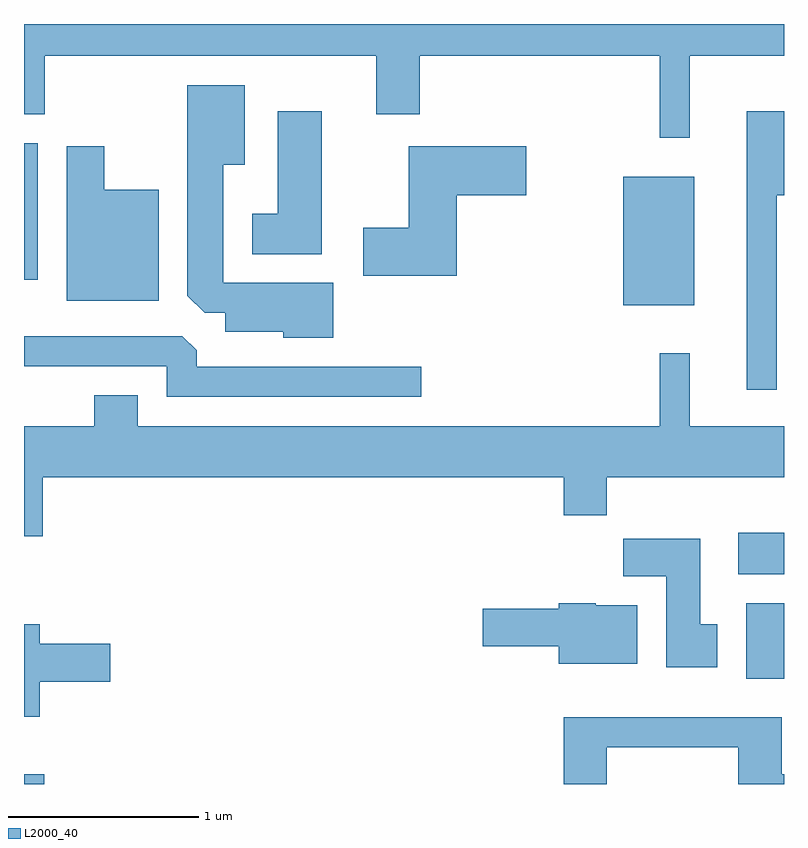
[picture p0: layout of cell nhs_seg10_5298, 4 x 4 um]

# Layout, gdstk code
import gdstk
lib = gdstk.Library(unit=1e-6, precision=1e-09)
def R(c, l, rs):  # rectangles x0, y0, x1, y1
    for r in rs: c.add(gdstk.rectangle(r[:2], r[2:], *l))
def P(c, l, *ps):  # polygons
    for p in ps: c.add(gdstk.Polygon(p, *l))
L2000_40 = (2000, 40)

nhs_seg10_5298 = lib.new_cell('nhs_seg10_5298')
R(nhs_seg10_5298, L2000_40, [(341.611,2114.522,341.718,2114.574), (345.411,2115.076,345.611,2115.474), (345.371,2115.626,345.611,2115.844), (344.766,2117.041,345.139,2117.719), (341.611,2117.176,341.684,2117.894)])
P(nhs_seg10_5298, L2000_40, [(345.114,2118.356),(345.611,2118.356),(345.611,2118.522),(341.611,2118.522),(341.611,2118.046),(341.719,2118.046),(341.719,2118.356),(343.466,2118.356),(343.466,2118.046),(343.694,2118.046),(343.694,2118.356),(344.956,2118.356),(344.956,2117.923),(345.114,2117.923)],
  [(343.239,2117.159),(342.659,2117.159),(342.659,2117.781),(342.774,2117.781),(342.774,2118.199),(342.471,2118.199),(342.471,2117.092),(342.562,2117.001),(342.671,2117.001),(342.671,2116.901),(342.976,2116.901),(342.976,2116.871),(343.239,2116.871)],
  [(345.574,2117.621),(345.611,2117.621),(345.611,2118.064),(345.416,2118.064),(345.416,2116.598),(345.574,2116.598)],
  [(343.179,2118.064),(342.946,2118.064),(342.946,2117.524),(342.811,2117.524),(342.811,2117.311),(343.179,2117.311)],
  [(342.319,2117.649),(342.034,2117.649),(342.034,2117.879),(341.836,2117.879),(341.836,2117.066),(342.319,2117.066)],
  [(343.889,2117.621),(344.254,2117.621),(344.254,2117.879),(343.636,2117.879),(343.636,2117.449),(343.396,2117.449),(343.396,2117.196),(343.889,2117.196)],
  [(343.703,2116.719),(342.519,2116.719),(342.519,2116.804),(342.444,2116.879),(341.611,2116.879),(341.611,2116.721),(342.361,2116.721),(342.361,2116.561),(343.703,2116.561)],
  [(341.709,2116.136),(344.451,2116.136),(344.451,2115.936),(344.679,2115.936),(344.679,2116.136),(345.611,2116.136),(345.611,2116.404),(345.114,2116.404),(345.114,2116.788),(344.956,2116.788),(344.956,2116.404),(342.209,2116.404),(342.209,2116.569),(341.981,2116.569),(341.981,2116.404),(341.611,2116.404),(341.611,2115.826),(341.709,2115.826)],
  [(345.259,2115.364),(345.169,2115.364),(345.169,2115.814),(344.766,2115.814),(344.766,2115.616),(344.991,2115.616),(344.991,2115.136),(345.259,2115.136)],
  [(344.839,2115.464),(344.62,2115.464),(344.62,2115.474),(344.426,2115.474),(344.426,2115.444),(344.026,2115.444),(344.026,2115.246),(344.426,2115.246),(344.426,2115.156),(344.839,2115.156)],
  [(341.694,2115.061),(342.064,2115.061),(342.064,2115.259),(341.694,2115.259),(341.694,2115.364),(341.611,2115.364),(341.611,2114.876),(341.694,2114.876)],
  [(344.679,2114.716),(345.371,2114.716),(345.371,2114.522),(345.611,2114.522),(345.611,2114.574),(345.599,2114.574),(345.599,2114.874),(344.451,2114.874),(344.451,2114.522),(344.679,2114.522)])

lib.write_gds('nhs_seg10_5298.gds')
